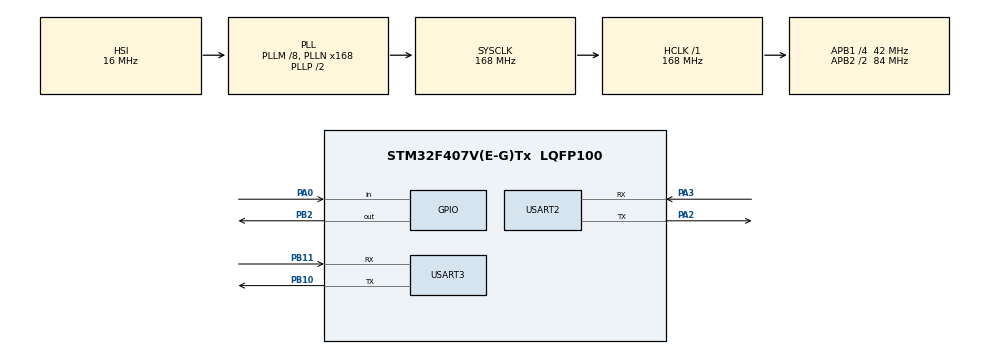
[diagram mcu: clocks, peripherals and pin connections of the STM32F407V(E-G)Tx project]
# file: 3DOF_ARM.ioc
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Dma.Request0=USART2_RX
Dma.Request1=USART2_TX
Dma.Request2=USART3_RX
Dma.Request3=USART3_TX
Dma.USART2_RX.0.Direction=DMA_PERIPH_TO_MEMORY
Dma.USART2_RX.0.FIFOMode=DMA_FIFOMODE_DISABLE
Dma.USART2_RX.0.Instance=DMA1_Stream5
Dma.USART2_RX.0.MemDataAlignment=DMA_MDATAALIGN_BYTE
Dma.USART2_RX.0.MemInc=DMA_MINC_ENABLE
Dma.USART2_RX.0.Mode=DMA_NORMAL
Dma.USART2_RX.0.PeriphDataAlignment=DMA_PDATAALIGN_BYTE
Dma.USART2_RX.0.PeriphInc=DMA_PINC_DISABLE
Dma.USART2_RX.0.Priority=DMA_PRIORITY_LOW
Dma.USART2_TX.1.Direction=DMA_MEMORY_TO_PERIPH
Dma.USART2_TX.1.FIFOMode=DMA_FIFOMODE_DISABLE
Dma.USART2_TX.1.Instance=DMA1_Stream6
Dma.USART2_TX.1.MemDataAlignment=DMA_MDATAALIGN_BYTE
Dma.USART2_TX.1.MemInc=DMA_MINC_ENABLE
Dma.USART2_TX.1.Mode=DMA_NORMAL
Dma.USART2_TX.1.PeriphDataAlignment=DMA_PDATAALIGN_BYTE
Dma.USART2_TX.1.PeriphInc=DMA_PINC_DISABLE
Dma.USART2_TX.1.Priority=DMA_PRIORITY_LOW
Dma.USART3_RX.2.Direction=DMA_PERIPH_TO_MEMORY
Dma.USART3_RX.2.FIFOMode=DMA_FIFOMODE_DISABLE
Dma.USART3_RX.2.Instance=DMA1_Stream1
Dma.USART3_RX.2.MemDataAlignment=DMA_MDATAALIGN_BYTE
Dma.USART3_RX.2.MemInc=DMA_MINC_ENABLE
Dma.USART3_RX.2.Mode=DMA_NORMAL
Dma.USART3_RX.2.PeriphDataAlignment=DMA_PDATAALIGN_BYTE
Dma.USART3_RX.2.PeriphInc=DMA_PINC_DISABLE
Dma.USART3_RX.2.Priority=DMA_PRIORITY_LOW
Dma.USART3_TX.3.Direction=DMA_MEMORY_TO_PERIPH
Dma.USART3_TX.3.FIFOMode=DMA_FIFOMODE_DISABLE
Dma.USART3_TX.3.Instance=DMA1_Stream3
Dma.USART3_TX.3.MemDataAlignment=DMA_MDATAALIGN_BYTE
Dma.USART3_TX.3.MemInc=DMA_MINC_ENABLE
Dma.USART3_TX.3.Mode=DMA_NORMAL
Dma.USART3_TX.3.PeriphDataAlignment=DMA_PDATAALIGN_BYTE
Dma.USART3_TX.3.PeriphInc=DMA_PINC_DISABLE
Dma.USART3_TX.3.Priority=DMA_PRIORITY_LOW
FREERTOS.INCLUDE_vTaskDelayUntil=1
FREERTOS.Tasks01=defaultTask,-3,128,StartDefaultTask,Default,NULL,Dynamic,NULL,NULL
FREERTOS.configENABLE_FPU=1
Mcu.Family=STM32F4
Mcu.Name=STM32F407V(E-G)Tx
Mcu.Package=LQFP100
NVIC.DMA1_Stream1_IRQn=true\:5\:0\:false\:false\:true\:true\:false\:true\:true
NVIC.DMA1_Stream3_IRQn=true\:5\:0\:false\:false\:true\:true\:false\:true\:true
NVIC.DMA1_Stream5_IRQn=true\:5\:0\:false\:false\:true\:true\:false\:true\:true
NVIC.DMA1_Stream6_IRQn=true\:5\:0\:false\:false\:true\:true\:false\:true\:true
NVIC.PriorityGroup=NVIC_PRIORITYGROUP_4
NVIC.TIM1_UP_TIM10_IRQn=true\:5\:0\:false\:false\:true\:true\:true\:true\:true
NVIC.TIM3_IRQn=true\:15\:0\:false\:false\:true\:false\:false\:true\:true
NVIC.TimeBase=TIM3_IRQn
NVIC.TimeBaseIP=TIM3
NVIC.USART2_IRQn=true\:5\:0\:false\:false\:true\:true\:true\:true\:true
NVIC.USART3_IRQn=true\:5\:0\:false\:false\:true\:true\:true\:true\:true
PA0-WKUP.GPIO_PuPd=GPIO_PULLDOWN
PA0-WKUP.Signal=GPIO_Input
PA13.Mode=Serial_Wire
PA13.Signal=SYS_JTMS-SWDIO
PA14.Mode=Serial_Wire
PA14.Signal=SYS_JTCK-SWCLK
PA2.Mode=Asynchronous
PA2.Signal=USART2_TX
PA3.Mode=Asynchronous
PA3.Signal=USART2_RX
PB10.Mode=Asynchronous
PB10.Signal=USART3_TX
PB11.Mode=Asynchronous
PB11.Signal=USART3_RX
PB2.Signal=GPIO_Output
PH0-OSC_IN.Mode=HSE-External-Oscillator
PH0-OSC_IN.Signal=RCC_OSC_IN
PH1-OSC_OUT.Mode=HSE-External-Oscillator
PH1-OSC_OUT.Signal=RCC_OSC_OUT
ProjectManager.HeapSize=0x200
ProjectManager.StackSize=0x400
ProjectManager.TargetToolchain=MDK-ARM V5.32
RCC.48MHZClocksFreq_Value=84000000
RCC.AHBFreq_Value=168000000
RCC.APB1CLKDivider=RCC_HCLK_DIV4
RCC.APB1Freq_Value=42000000
RCC.APB1TimFreq_Value=84000000
RCC.APB2CLKDivider=RCC_HCLK_DIV2
RCC.APB2Freq_Value=84000000
RCC.APB2TimFreq_Value=168000000
RCC.CortexFreq_Value=168000000
RCC.HCLKFreq_Value=168000000
RCC.HSE_VALUE=25000000
RCC.HSI_VALUE=16000000
RCC.LSE_VALUE=32768
RCC.PLLM=8
RCC.PLLN=168
RCC.SYSCLKFreq_VALUE=168000000
RCC.SYSCLKSource=RCC_SYSCLKSOURCE_PLLCLK
RCC.VCOOutputFreq_Value=336000000
TIM1.Period=1000-1
TIM1.Prescaler=84-1
USART2.VirtualMode=VM_ASYNC
USART3.VirtualMode=VM_ASYNC
VP_FREERTOS_VS_CMSIS_V1.Mode=CMSIS_V1
VP_SYS_VS_tim3.Mode=TIM3
VP_TIM1_VS_ClockSourceINT.Mode=Internal
board=custom

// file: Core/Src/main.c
/* USER CODE BEGIN Header */
/**
  ******************************************************************************
  * @file           : main.c
  * @brief          : Main program body
  ******************************************************************************
  * @attention
  *
  * Copyright (c) 2026 STMicroelectronics.
  * All rights reserved.
  *
  * This software is licensed under terms that can be found in the LICENSE file
  * in the root directory of this software component.
  * If no LICENSE file comes with this software, it is provided AS-IS.
  *
  ******************************************************************************
  */
/* USER CODE END Header */
#include "main.h"
#include "cmsis_os.h"
#include "dma.h"
#include "tim.h"
#include "usart.h"
#include "gpio.h"

/* USER CODE BEGIN Includes */
#include "motor.h"
/* USER CODE END Includes */

void SystemClock_Config(void);
void MX_FREERTOS_Init(void);

/* USER CODE BEGIN 0 */
extern int flag;
int key_cnt_1 = 0;
Motor motor1 = {0x01, &huart2};
Motor motor2 = {0x02, &huart3};
uint8_t arr[10];
Motor motor3 = {0x03, &huart3};
/* USER CODE END 0 */

int main(void)
{

  /* MCU Configuration--------------------------------------------------------*/

  /* Reset of all peripherals, Initializes the Flash interface and the Systick. */
  HAL_Init();

  /* Configure the system clock */
  SystemClock_Config();

  /* Initialize all configured peripherals */
  MX_GPIO_Init();
  MX_DMA_Init();
  MX_USART2_UART_Init();
  MX_USART3_UART_Init();
  MX_TIM1_Init();
  /* USER CODE BEGIN 2 */
  HAL_Delay(2000);
  HAL_TIM_Base_Start_IT(&htim1);

  // SetMotorZeroPosition(&motor1);
  // HAL_Delay(5);
  // SetMotorZeroPosition(&motor2);
  // HAL_Delay(5);
  // SetMotorZeroPosition(&motor3);
  // HAL_Delay(5);

  // EnableMotorControl(&motor1, MOTOR_ENABLE);
  //  HAL_Delay(5);
  // EnableMotorControl(&motor2, MOTOR_ENABLE);
  //  HAL_Delay(5);
  // EnableMotorControl(&motor3, MOTOR_ENABLE);
  //  HAL_Delay(5);

  // EnableMotorControl(&motor1, MOTOR_DISABLE);
  // HAL_Delay(5);
  // EnableMotorControl(&motor2, MOTOR_DISABLE);
  // HAL_Delay(5);
  // EnableMotorControl(&motor3, MOTOR_DISABLE);
  // HAL_Delay(5);
  /* USER CODE END 2 */

  /* Call init function for freertos objects (in cmsis_os2.c) */
  MX_FREERTOS_Init();

  /* Start scheduler */
  osKernelStart();

  /* We should never get here as control is now taken by the scheduler */

  /* Infinite loop */
  while (1)
  {

  }
}

void SystemClock_Config(void)
{
  RCC_OscInitTypeDef RCC_OscInitStruct = {0};
  RCC_ClkInitTypeDef RCC_ClkInitStruct = {0};

  /** Configure the main internal regulator output voltage
  */
  __HAL_RCC_PWR_CLK_ENABLE();
  __HAL_PWR_VOLTAGESCALING_CONFIG(PWR_REGULATOR_VOLTAGE_SCALE1);

  /** Initializes the RCC Oscillators according to the specified parameters
  * in the RCC_OscInitTypeDef structure.
  */
  RCC_OscInitStruct.OscillatorType = RCC_OSCILLATORTYPE_HSI;
  RCC_OscInitStruct.HSIState = RCC_HSI_ON;
  RCC_OscInitStruct.HSICalibrationValue = RCC_HSICALIBRATION_DEFAULT;
  RCC_OscInitStruct.PLL.PLLState = RCC_PLL_ON;
  RCC_OscInitStruct.PLL.PLLSource = RCC_PLLSOURCE_HSI;
  RCC_OscInitStruct.PLL.PLLM = 8;
  RCC_OscInitStruct.PLL.PLLN = 168;
  RCC_OscInitStruct.PLL.PLLP = RCC_PLLP_DIV2;
  RCC_OscInitStruct.PLL.PLLQ = 4;
  if (HAL_RCC_OscConfig(&RCC_OscInitStruct) != HAL_OK)
  {
    Error_Handler();
  }

  /** Initializes the CPU, AHB and APB buses clocks
  */
  RCC_ClkInitStruct.ClockType = RCC_CLOCKTYPE_HCLK|RCC_CLOCKTYPE_SYSCLK
                              |RCC_CLOCKTYPE_PCLK1|RCC_CLOCKTYPE_PCLK2;
  RCC_ClkInitStruct.SYSCLKSource = RCC_SYSCLKSOURCE_PLLCLK;
  RCC_ClkInitStruct.AHBCLKDivider = RCC_SYSCLK_DIV1;
  RCC_ClkInitStruct.APB1CLKDivider = RCC_HCLK_DIV4;
  RCC_ClkInitStruct.APB2CLKDivider = RCC_HCLK_DIV2;

  if (HAL_RCC_ClockConfig(&RCC_ClkInitStruct, FLASH_LATENCY_5) != HAL_OK)
  {
    Error_Handler();
  }
}

void HAL_TIM_PeriodElapsedCallback(TIM_HandleTypeDef *htim)
{
  if (htim->Instance == TIM3)
  {
    HAL_IncTick();
  }
  /* USER CODE BEGIN Callback 1 */
  if (htim->Instance == TIM1)
  {
    static uint16_t cnt_1 = 0;
    static uint16_t cnt_2 = 0;
    static uint8_t last_key_state = 1;
    static uint8_t cur_key_state = 1;
    cnt_1++;
    if (cnt_1 >= 20)
    {
      cnt_1 = 0;

      last_key_state = cur_key_state;
      cur_key_state = HAL_GPIO_ReadPin(GPIOA, GPIO_PIN_0);
      if (last_key_state == 0 && cur_key_state == 1)
      {
        flag++;
        flag = flag % 5;
      }
    }

    cnt_2++;
    if (cnt_2 >= 1000)
    {
      cnt_2 = 0;
      HAL_GPIO_TogglePin(GPIOB, GPIO_PIN_2);
    }
  }
  /* USER CODE END Callback 1 */
}

void Error_Handler(void)
{
  __disable_irq();
  while (1)
  {
  }
}

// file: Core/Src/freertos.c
/* USER CODE BEGIN Header */
/**
  ******************************************************************************
  * File Name          : freertos.c
  * Description        : Code for freertos applications
  ******************************************************************************
  * @attention
  *
  * Copyright (c) 2026 STMicroelectronics.
  * All rights reserved.
  *
  * This software is licensed under terms that can be found in the LICENSE file
  * in the root directory of this software component.
  * If no LICENSE file comes with this software, it is provided AS-IS.
  *
  ******************************************************************************
  */
/* USER CODE END Header */

#include "FreeRTOS.h"
#include "task.h"
#include "main.h"
#include "cmsis_os.h"

/* USER CODE BEGIN Includes */
#include "run.h"
/* USER CODE END Includes */

/* USER CODE BEGIN Variables */
SemaphoreHandle_t semaphore;
SemaphoreHandle_t xMotorControlSemaphore;
/* USER CODE END Variables */
osThreadId defaultTaskHandle;

void StartDefaultTask(void const * argument);

void MX_FREERTOS_Init(void); /* (MISRA C 2004 rule 8.1) */

/* GetIdleTaskMemory prototype (linked to static allocation support) */
void vApplicationGetIdleTaskMemory( StaticTask_t **ppxIdleTaskTCBBuffer, StackType_t **ppxIdleTaskStackBuffer, uint32_t *pulIdleTaskStackSize );

/* USER CODE BEGIN GET_IDLE_TASK_MEMORY */
static StaticTask_t xIdleTaskTCBBuffer;
static StackType_t xIdleStack[configMINIMAL_STACK_SIZE];

void vApplicationGetIdleTaskMemory( StaticTask_t **ppxIdleTaskTCBBuffer, StackType_t **ppxIdleTaskStackBuffer, uint32_t *pulIdleTaskStackSize )
{
  *ppxIdleTaskTCBBuffer = &xIdleTaskTCBBuffer;
  *ppxIdleTaskStackBuffer = &xIdleStack[0];
  *pulIdleTaskStackSize = configMINIMAL_STACK_SIZE;
  /* place for user code */
}
/* USER CODE END GET_IDLE_TASK_MEMORY */

void MX_FREERTOS_Init(void) {

  /* USER CODE BEGIN RTOS_SEMAPHORES */
  /* add semaphores, ... */
  semaphore = xSemaphoreCreateBinary();
  xMotorControlSemaphore = xSemaphoreCreateBinary();
  /* USER CODE END RTOS_SEMAPHORES */

  /* Create the thread(s) */
  /* definition and creation of defaultTask */
  osThreadDef(defaultTask, StartDefaultTask, osPriorityIdle, 0, 128);
  defaultTaskHandle = osThreadCreate(osThread(defaultTask), NULL);

  /* USER CODE BEGIN RTOS_THREADS */
  /* add threads, ... */
  xTaskCreate(MotorControlTask, "MotorControlTask", 256, NULL, 3, NULL);
  xTaskCreate(Kinematics, "Kinematics", 256, NULL, 3, NULL);
  /* USER CODE END RTOS_THREADS */

}

void StartDefaultTask(void const * argument)
{
  /* USER CODE BEGIN StartDefaultTask */
  /* Infinite loop */
  for(;;)
  {
    vTaskDelete(NULL);
  }
  /* USER CODE END StartDefaultTask */
}
